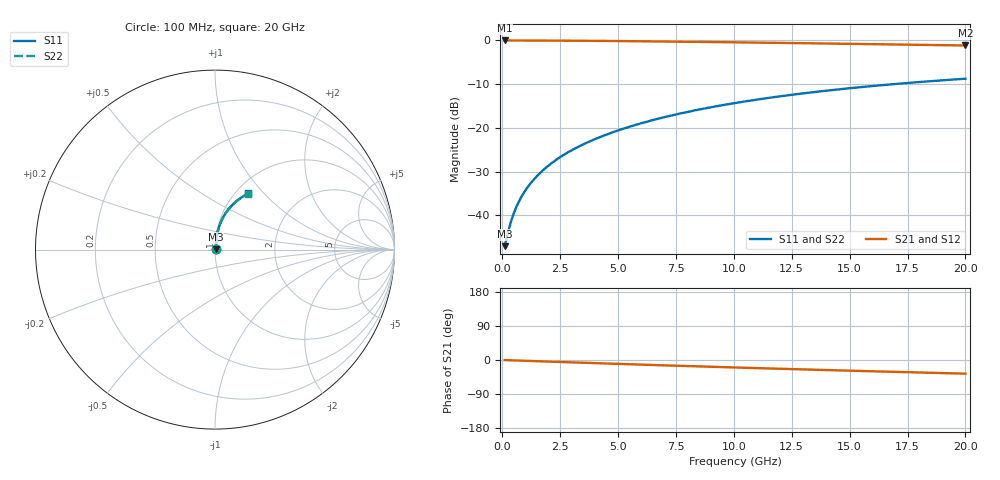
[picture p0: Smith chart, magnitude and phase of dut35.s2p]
! Touchstone file exported from HFSS 2024.1.0
!  File:  C:/UserFiles/LocalFiles/RDL_TSV_Batchsim/temp_RDL_top_35_1778680725.aedt
!  Generated:  10:01:11 PM May 13, 2026
!  Design:  RDL_top
!  Project:  temp_RDL_top_35_1778680725
!  Setup:  Setup1
!  Solution:  Sweep
! Variables:
!  dtsv = 10.80580581um
!  hbump = 3um
!  htsv = 69.86um
!  ldown = 100um
!  lrdl = 482.52um
!  p = 40
!  p1 = 46.87um
!  rhole = 1um
!  t = 450um
!  tdown = 3.915915916um
!  trdl = 2.42um
!  wdown = 15.38538539um
!  wrdl = 19.01um
# GHz S MA R 50.000000
! Terminal data exported
! Port[1] = Box2_T1
! Port[2] = Box2_T2
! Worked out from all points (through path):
!   200 points, 100 MHz to 20 GHz, reference 50 ohm
!   highest |S21| = -0.03 dB at 100 MHz (marker M1); lowest = -1.2 dB at 20 GHz (marker M2)
!   group delay of S21, straight-line fit = 4.99 ps
!   lowest |S11| = -47.1 dB at 100 MHz (marker M3), VSWR 1.01, Z = 50.4 + j0.201 ohm
!   |S11| at or under -10 dB: start of sweep to 16.95 GHz
!   |S22| runs from -47.1 to -8.8 dB; largest |S21 - S12| = 4.2e-15
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0.1  0.00443 26.7  0.996 -0.2  0.996 -0.2  0.00443 26.7
! Gamma 0 0 0 0
! Port Impedance 50 0 50 0
0.3  0.007208 54.7  0.9958 -0.7  0.9958 -0.7  0.007208 54.6
0.4  0.008881 60.9  0.9956 -0.9  0.9956 -0.9  0.008881 60.9
0.5  0.01059 65.1  0.9954 -1.1  0.9954 -1.1  0.01059 65.1
0.6  0.01232 68.1  0.9953 -1.3  0.9953 -1.3  0.01232 68.1
0.7  0.01405 70.3  0.9951 -1.5  0.9951 -1.5  0.01405 70.3
0.9  0.01753 73.6  0.9947 -1.9  0.9947 -1.9  0.01753 73.6
1.2  0.02279 76.6  0.9942 -2.5  0.9942 -2.5  0.02279 76.6
1.4  0.02632 78.0  0.9938 -3.0  0.9938 -3.0  0.02632 78.0
1.7  0.03167 79.5  0.9932 -3.6  0.9932 -3.6  0.03167 79.5
2.2  0.04069 81.0  0.9919 -4.6  0.9919 -4.6  0.04069 81.0
2.8  0.05168 81.9  0.9901 -5.8  0.9901 -5.8  0.05169 81.9
3.5  0.06471 82.2  0.9875 -7.3  0.9875 -7.3  0.06471 82.2
4.2  0.07793 82.2  0.9845 -8.7  0.9845 -8.7  0.07793 82.2
5  0.09325 81.8  0.9806 -10.3  0.9806 -10.3  0.09324 81.8
5.9  0.1107 81.0  0.9757 -12.0  0.9757 -12.0  0.1107 81.0
6.8  0.1283 80.0  0.9703 -13.8  0.9703 -13.8  0.1283 80.0
8.4  0.1597 77.9  0.96 -16.8  0.96 -16.8  0.1597 77.9
10.1  0.1928 75.3  0.9482 -19.8  0.9482 -19.8  0.1928 75.3
13.4  0.2548 69.9  0.9239 -25.6  0.9239 -25.6  0.2547 69.9
16.7  0.3121 64.4  0.8983 -31.0  0.8983 -31.0  0.3121 64.4
20  0.3639 59.2  0.8724 -36.1  0.8724 -36.1  0.3639 59.2
